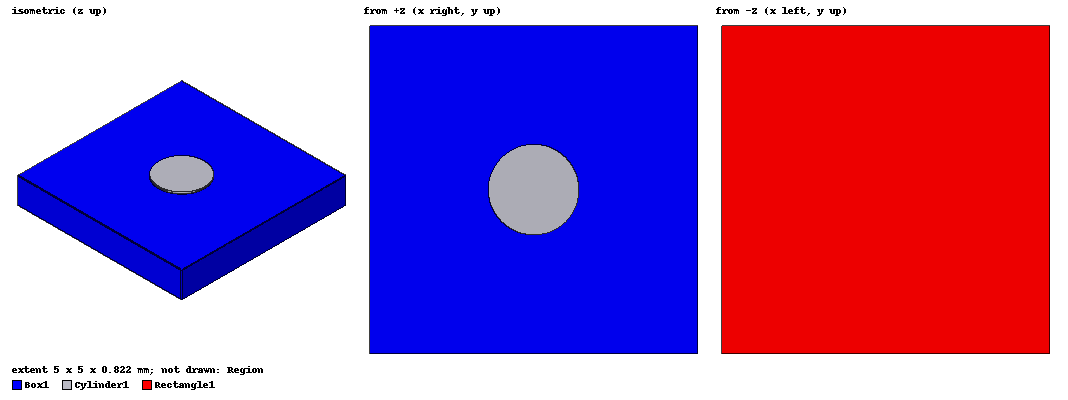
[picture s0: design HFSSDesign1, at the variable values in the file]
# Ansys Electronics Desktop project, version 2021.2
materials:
  vacuum: permittivity=1
  Rogers RT/duroid 5880 (tm): permittivity=2.2 dielectric_loss_tangent=0.0009
  pec: conductivity=1e+30
  copper: permeability=0.999991 conductivity=58000000

design HFSSDesign1 (HFSS, DrivenModal, model units mm)
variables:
  Xsize = Subsize
  Ysize = Subsize
  margin = 1mm
  H = 0.787mm
  Lado = 0.61393493mm
  Largo = 1.2042669mm
  Subsize = 5mm
  parameters = [0.690570237071583, 1.2042668629484, 0.035, 0.508] mm
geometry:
  Rectangle1 = rectangle(corner=(0mm, 0mm, 0mm), x_size=Xsize, y_size=Ysize)
  Box1 [Rogers RT/duroid 5880 (tm)] = box(corner=(0mm, 0mm, 0mm), size=(Xsize, Ysize, H))
  Region [vacuum] = region(absolute_offset: +X=0mm, -X=0mm, +Y=0mm, -Y=0mm, +Z=10mm, -Z=10mm)
  Box2 [pec, non-model] = box(corner=(Xsize/2 - Lado/2, Ysize/2 - Largo/2, H), size=(Lado, Largo, parameters[2]))
  Cylinder1 [pec] = cylinder(axis=Z, base_centre=(2.5mm, 2.5mm, 0.787mm), radius=0.69057024mm, height=0.035mm)
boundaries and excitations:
  PerfE1: Perfect E Objects=Rectangle1
  Primary1: Primary Faces=Region.face(+x) CoordSysVector{Region.vertex(1 of 8) -> Region.vertex(2 of 8)}
  Primary2: Primary Faces=Region.face(+y) CoordSysVector{Region.vertex(2 of 8) -> Region.vertex(3 of 8)}
  Secondary1: Secondary Faces=Region.face(-y) CoordSysVector{Region.vertex(1 of 8) -> Region.vertex(4 of 8)} ReverseV primary=Primary2 PhaseDelay=UseScanAngle Phi=0deg Theta=0deg
  Secondary2: Secondary Faces=Region.face(-x) CoordSysVector{Region.vertex(4 of 8) -> Region.vertex(3 of 8)} ReverseV primary=Primary1 PhaseDelay=UseScanAngle Phi=0deg Theta=0deg
  FloquetPort1: Floquet Port Faces=Region.face(+z) NumModes=2 DeembedDist=10mm Modes{Mode1{CharImp=Zpi} Mode2{CharImp=Zpi}} PhaseDelay=UseScanAngle Phi=0deg Theta=0deg LatticeAVector{Region.vertex(1 of 8) -> Region.vertex(2 of 8)} LatticeBVector{Region.vertex(1 of 8) -> Region.vertex(4 of 8)} ModesList{Mode{ModeNumber=1 IndexM=0 IndexN=0 KC2=0 PropagationState=Propagating Attenuation=0 PolarizationState=TE AffectsRefinement} Mode{ModeNumber=2 IndexM=0 IndexN=0 KC2=0 PropagationState=Propagating Attenuation=0 PolarizationState=TM AffectsRefinement}}
  FloquetPort2: Floquet Port Faces=Region.face(-z) NumModes=2 DeembedDist=10mm Modes{Mode1{CharImp=Zpi} Mode2{CharImp=Zpi}} PhaseDelay=UseScanAngle Phi=0deg Theta=0deg LatticeAVector{Region.vertex(6 of 8) -> Region.vertex(5 of 8)} LatticeBVector{Region.vertex(6 of 8) -> Region.vertex(7 of 8)} ModesList{Mode{ModeNumber=1 IndexM=0 IndexN=0 KC2=0 PropagationState=Propagating Attenuation=0 PolarizationState=TE AffectsRefinement} Mode{ModeNumber=2 IndexM=0 IndexN=0 KC2=0 PropagationState=Propagating Attenuation=0 PolarizationState=TM AffectsRefinement}}
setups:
  Setup1: HfssDriven Frequency=75GHz MaxDeltaS=0.02 MaximumPasses=5 MinimumPasses=1 MinimumConvergedPasses=1 PercentRefinement=30 BasisOrder=1 PortAccuracy=2
    sweep Sweep: 70GHz to 80GHz step 0.1GHz; Type=Interpolating InterpTolerance=0.5 InterpMaxSolns=250 InterpUsePortImped=false PassivityErrorTolerance=0.0001
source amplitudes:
  FloquetPort1:1: 1W 0deg
  FloquetPort1:2, FloquetPort2:1, FloquetPort2:2: 0W 0deg
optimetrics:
  ParametricSetup1: Parametric disabled Sim._Setups=[Setup1]
    sweep Lado: LIN 0.1mm 4mm 0.2mm
    sweep Largo: LIN 0.1mm 4mm 0.2mm
    sweep Subsize: 5mm
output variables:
  AbsorbanceTE = 1-((mag(S(FloquetPort1:1,FloquetPort1:1)))^2 +(mag(S(FloquetPort2:1,FloquetPort1:1)))^2)
  AbsorbanceTM = 1-((mag(S(FloquetPort1:2,FloquetPort1:2)))^2 +(mag(S(FloquetPort2:2,FloquetPort1:2)))^2)
  AbsorbanceTE__v2 = 1-(((S(FloquetPort1:1,FloquetPort1:1)))^2 +((S(FloquetPort2:1,FloquetPort1:1)))^2)
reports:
  Absorption: AbsorbanceTE vs Freq on Setup1 : Sweep; AbsorbanceTM vs Freq on Setup1 : Sweep [Lado=all Largo=all Subsize=5mm]
  Gamma Plot 1: ang_deg(AbsorbanceTE__v2) vs Freq on Setup1 : Sweep; markers MY1 at y=-160.784
